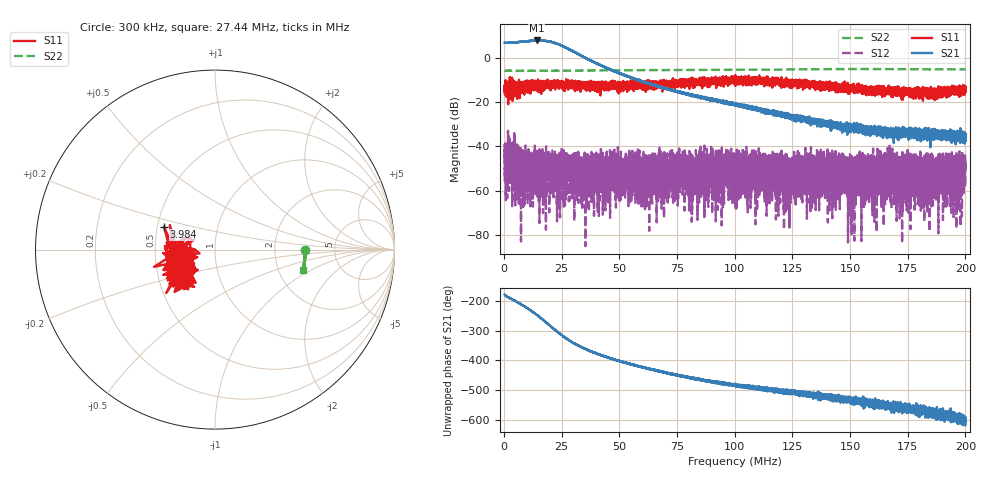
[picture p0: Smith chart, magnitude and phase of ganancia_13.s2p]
# Hz S DB R 50
! CMT, M5065, 19127446, 24.2.4/2
! Date: 11/8/2024 2:50:45 PM
! Data: Format (Calibration Info)
! Freq	S11:dB/Ang(F2)	S21:dB/Ang(F2)	S12:dB/Ang(F2)	S22:dB/Ang(F2)
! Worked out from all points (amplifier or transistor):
!   9000 points, 300 kHz to 200 MHz, reference 50 ohm
!   highest |S21| = 7.7 dB at 14.19 MHz (marker M1)
!   |S21| within 3 dB of that: start of sweep to 26.36 MHz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
!   unconditionally stable (mu >= 1): start of sweep to end of sweep
!   at 33.59 MHz: K = 176.90, MAG = 2.3 dB, |S12| = -54.8 dB
!   at 100.2 MHz: K = 930.30, MAG = -18.9 dB, |S12| = -48.7 dB
!   at 200 MHz: K = 5810.75, MAG = -32.7 dB, |S12| = -50.3 dB
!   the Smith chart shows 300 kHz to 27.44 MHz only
!   S11 on the Smith chart (normalised r, x): 300 kHz: 0.68, -0.05; 3.984 MHz: 0.54, +0.15; 27.44 MHz: 0.65, -0.23
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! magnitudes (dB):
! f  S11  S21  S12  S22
! 300 kHz  -14.4  6.6  -45.3  -6.0
! 3.984 MHz  -10.2  6.7  -51.6  -6.0
! 8.267 MHz  -14.3  7.1  -47.6  -6.0
! 9.864 MHz  -12.1  7.3  -48.6  -6.0
! 14.19 MHz  -12.9  7.7  -44.9  -5.9
! 27.44 MHz  -11.9  4.1  -50.2  -5.9
! 33.59 MHz  -13.0  0.8  -54.8  -5.9
! 36.98 MHz  -13.4  -1.0  -56.6  -5.9
! 43.13 MHz  -12.5  -4.0  -54.9  -5.8
! 47.08 MHz  -12.8  -5.8  -51.5  -5.8
! 66.87 MHz  -11.2  -12.9  -45.4  -5.7
! 84.92 MHz  -11.7  -17.7  -50.2  -5.6
! 94.5 MHz  -10.9  -20.1  -52.3  -5.6
! 96.63 MHz  -11.0  -20.3  -58.3  -5.6
! 100.2 MHz  -8.1  -21.0  -48.7  -5.5
! 119.5 MHz  -11.7  -26.1  -56.2  -5.4
! 122.9 MHz  -11.0  -25.4  -58.9  -5.4
! 130.2 MHz  -11.5  -27.6  -61.0  -5.3
! 133.4 MHz  -11.1  -28.6  -51.2  -5.3
! 166.7 MHz  -12.6  -33.9  -48.2  -5.2
! 196.9 MHz  -14.3  -34.6  -43.0  -5.4
! 200 MHz  -14.7  -34.3  -50.3  -5.4
